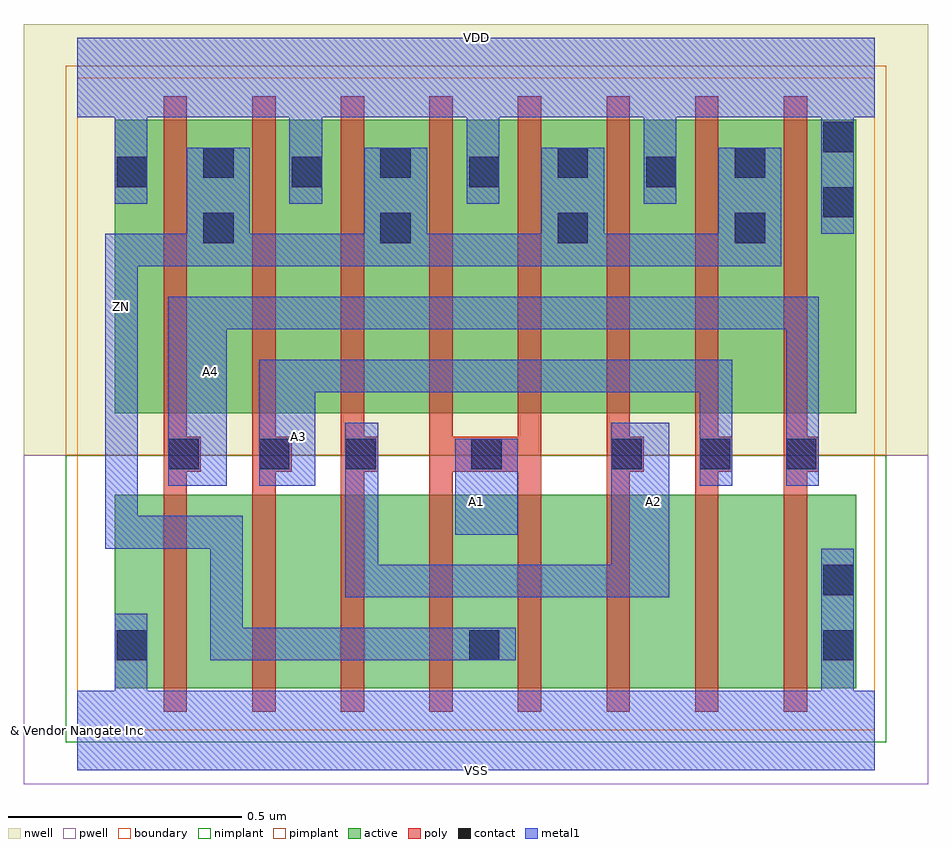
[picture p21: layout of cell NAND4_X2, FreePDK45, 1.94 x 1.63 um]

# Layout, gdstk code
import gdstk
lib = gdstk.Library(unit=1e-6, precision=1e-10)
def R(c, l, rs):  # rectangles x0, y0, x1, y1
    for r in rs: c.add(gdstk.rectangle(r[:2], r[2:], *l))
def A(c, l, x, y, w, h, nx, ny, dx, dy):  # array of equal rectangles
    R(c, l, [(x+i*dx, y+j*dy, x+i*dx+w, y+j*dy+h) for i in range(nx) for j in range(ny)])
def P(c, l, *ps):  # polygons
    for p in ps: c.add(gdstk.Polygon(p, *l))
active = (1, 0)
pwell = (2, 0)
nwell = (3, 0)
nimplant = (4, 0)
pimplant = (5, 0)
poly = (9, 0)
contact = (10, 0)
metal1 = (11, 0)
boundary = (235, 0)

nand4_x2 = lib.new_cell('NAND4_X2')
R(nand4_x2, active, [(0.08,0.09,1.67,0.505), (0.08,0.68,1.67,1.31)])
R(nand4_x2, pwell, [(-0.115,-0.115,1.825,0.59)])
R(nand4_x2, nwell, [(-0.115,0.59,1.825,1.515)])
R(nand4_x2, nimplant, [(-0.025,-0.025,1.735,0.59)])
R(nand4_x2, pimplant, [(-0.025,0.59,1.735,1.425)])
P(nand4_x2, poly, [(0.185,0.04),(0.185,1.36),(0.235,1.36),(0.235,0.63),(0.265,0.63),(0.265,0.555),(0.235,0.555),(0.235,0.04)],
  [(0.375,0.04),(0.375,1.36),(0.425,1.36),(0.425,0.63),(0.46,0.63),(0.46,0.555),(0.425,0.555),(0.425,0.04)],
  [(0.565,0.04),(0.565,1.36),(0.615,1.36),(0.615,0.63),(0.645,0.63),(0.645,0.555),(0.615,0.555),(0.615,0.04)],
  [(0.755,0.04),(0.755,1.36),(0.805,1.36),(0.805,0.63),(0.945,0.63),(0.945,1.36),(0.995,1.36),(0.995,0.04),(0.945,0.04),(0.945,0.555),(0.805,0.555),(0.805,0.04)],
  [(1.135,0.04),(1.135,1.36),(1.185,1.36),(1.185,0.63),(1.215,0.63),(1.215,0.555),(1.185,0.555),(1.185,0.04)],
  [(1.325,0.04),(1.325,1.36),(1.375,1.36),(1.375,0.63),(1.405,0.63),(1.405,0.555),(1.375,0.555),(1.375,0.04)],
  [(1.515,0.04),(1.515,1.36),(1.565,1.36),(1.565,0.63),(1.59,0.63),(1.59,0.555),(1.565,0.555),(1.565,0.04)])
A(nand4_x2, contact, 0.27, 1.045, 0.065, 0.065, 4, 2, 0.38, 0.14)
A(nand4_x2, contact, 0.46, 1.165, 0.065, 0.065, 3, 1, 0.38, 0)
R(nand4_x2, contact, [(0.085,0.15,0.15,0.215), (0.84,0.15,0.905,0.215), (1.6,0.15,1.665,0.215), (1.6,0.29,1.665,0.355), (0.195,0.56,0.26,0.625), (0.39,0.56,0.455,0.625), (0.575,0.56,0.64,0.625), (0.845,0.56,0.91,0.625), (1.145,0.56,1.21,0.625), (1.335,0.56,1.4,0.625), (1.52,0.56,1.585,0.625), (1.6,1.1,1.665,1.165), (0.085,1.165,0.15,1.23), (1.6,1.24,1.665,1.305)])
R(nand4_x2, metal1, [(0.81,0.42,0.945,0.625)])
P(nand4_x2, metal1, [(0.575,0.285),(0.575,0.66),(0.645,0.66),(0.645,0.355),(1.145,0.355),(1.145,0.66),(1.27,0.66),(1.27,0.285)],
  [(0.39,0.525),(0.39,0.795),(1.405,0.795),(1.405,0.525),(1.335,0.525),(1.335,0.725),(0.51,0.725),(0.51,0.525)],
  [(0.285,0.15),(0.285,0.39),(0.06,0.39),(0.06,1.065),(0.235,1.065),(0.235,1.25),(0.37,1.25),(0.37,1.065),(0.615,1.065),(0.615,1.25),(0.75,1.25),(0.75,1.065),(0.995,1.065),(0.995,1.25),(1.13,1.25),(1.13,1.065),(1.375,1.065),(1.375,1.25),(1.51,1.25),(1.51,0.995),(0.13,0.995),(0.13,0.46),(0.355,0.46),(0.355,0.22),(0.94,0.22),(0.94,0.15)],
  [(0.195,0.525),(0.195,0.93),(1.59,0.93),(1.59,0.525),(1.52,0.525),(1.52,0.86),(0.32,0.86),(0.32,0.525)],
  [(0,-0.085),(0,0.085),(0.08,0.085),(0.08,0.25),(0.15,0.25),(0.15,0.085),(1.595,0.085),(1.595,0.39),(1.665,0.39),(1.665,0.085),(1.71,0.085),(1.71,-0.085)],
  [(1.595,1.065),(1.595,1.315),(1.285,1.315),(1.285,1.13),(1.215,1.13),(1.215,1.315),(0.905,1.315),(0.905,1.13),(0.835,1.13),(0.835,1.315),(0.525,1.315),(0.525,1.13),(0.455,1.13),(0.455,1.315),(0.15,1.315),(0.15,1.13),(0.08,1.13),(0.08,1.315),(0,1.315),(0,1.485),(1.71,1.485),(1.71,1.315),(1.665,1.315),(1.665,1.065)])
R(nand4_x2, boundary, [(0,0,1.71,1.4)])
nand4_x2.add(gdstk.Label('A1', (0.855,0.49), layer=11, texttype=0))
nand4_x2.add(gdstk.Label('A2', (1.235,0.49), layer=11, texttype=0))
nand4_x2.add(gdstk.Label('A3', (0.475,0.63), layer=11, texttype=0))
nand4_x2.add(gdstk.Label('A4', (0.285,0.77), layer=11, texttype=0))
nand4_x2.add(gdstk.Label('VDD', (0.855,1.485), layer=11, texttype=0))
nand4_x2.add(gdstk.Label('VSS', (0.855,-0.085), layer=11, texttype=0))
nand4_x2.add(gdstk.Label('ZN', (0.095,0.91), layer=11, texttype=0))
nand4_x2.add(gdstk.Label('& Vendor Nangate Inc', (0,0), layer=63, texttype=63))
nand4_x2.add(gdstk.Label('& Product Open Cell Library', (0,0), layer=63, texttype=63))
nand4_x2.add(gdstk.Label('& Version 2010_12', (0,0), layer=63, texttype=63))
nand4_x2.add(gdstk.Label('& Instance NAND4_X2', (0,0), layer=63, texttype=63))

lib.write_gds('NAND4_X2.gds')
